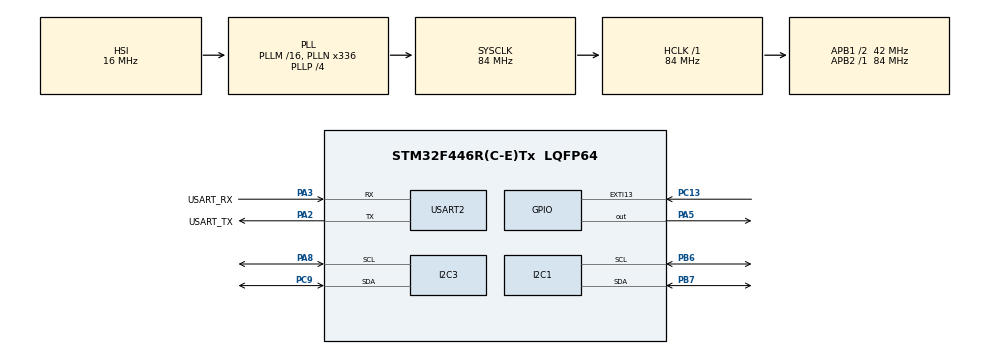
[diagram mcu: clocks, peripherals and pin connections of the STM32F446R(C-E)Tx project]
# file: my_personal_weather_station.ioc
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Mcu.Family=STM32F4
Mcu.Name=STM32F446R(C-E)Tx
Mcu.Package=LQFP64
NUCLEO-F446RE.BUTTON=1
NUCLEO-F446RE.LD1=true
NVIC.EXTI15_10_IRQn=true\:0\:0\:false\:false\:true\:false\:true\:true
NVIC.PriorityGroup=NVIC_PRIORITYGROUP_0
NVIC.TIM2_IRQn=true\:0\:0\:false\:false\:true\:true\:true\:true
PA13.GPIO_Label=TMS
PA13.Signal=SYS_JTMS-SWDIO
PA14.GPIO_Label=TCK
PA14.Signal=SYS_JTCK-SWCLK
PA2.GPIO_Label=USART_TX
PA2.Mode=Asynchronous
PA2.Signal=USART2_TX
PA3.GPIO_Label=USART_RX
PA3.Mode=Asynchronous
PA3.Signal=USART2_RX
PA5.Signal=GPIO_Output
PA8.Mode=I2C
PA8.Signal=I2C3_SCL
PB3.GPIO_Label=SWO
PB3.Signal=SYS_JTDO-SWO
PB6.Mode=I2C
PB6.Signal=I2C1_SCL
PB7.Mode=I2C
PB7.Signal=I2C1_SDA
PC13.Signal=GPXTI13
PC14-OSC32_IN.Signal=RCC_OSC32_IN
PC15-OSC32_OUT.Signal=RCC_OSC32_OUT
PC9.Mode=I2C
PC9.Signal=I2C3_SDA
PH0-OSC_IN.Signal=RCC_OSC_IN
PH1-OSC_OUT.Signal=RCC_OSC_OUT
ProjectManager.HeapSize=0x200
ProjectManager.StackSize=0x400
ProjectManager.TargetToolchain=STM32CubeIDE
RCC.AHBFreq_Value=84000000
RCC.APB1CLKDivider=RCC_HCLK_DIV2
RCC.APB1Freq_Value=42000000
RCC.APB1TimFreq_Value=84000000
RCC.APB2Freq_Value=84000000
RCC.APB2TimFreq_Value=84000000
RCC.CortexFreq_Value=84000000
RCC.FLatency-AdvancedSettings=FLASH_LATENCY_2
RCC.HCLKFreq_Value=84000000
RCC.HSE_VALUE=8000000
RCC.HSI_VALUE=16000000
RCC.LSE_VALUE=32768
RCC.PLLN=336
RCC.PLLP=RCC_PLLP_DIV4
RCC.SYSCLKFreq_VALUE=84000000
RCC.SYSCLKSource=RCC_SYSCLKSOURCE_PLLCLK
RCC.USBFreq_Value=168000000
RCC.VCOOutputFreq_Value=336000000
TIM2.Period=9999
TIM2.Prescaler=8399
USART2.VirtualMode=VM_ASYNC
VP_NUCLEO-F446RE_VS_BSP_COMMON.Mode=COMMON
VP_TIM2_VS_ClockSourceINT.Mode=Internal
board=NUCLEO-F446RE

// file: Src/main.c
/* USER CODE BEGIN Header */
/**
  ******************************************************************************
  * @file           : main.c
  * @brief          : Main program body
  ******************************************************************************
  * @attention
  *
  * Copyright (c) 2026 STMicroelectronics.
  * All rights reserved.
  *
  * This software is licensed under terms that can be found in the LICENSE file
  * in the root directory of this software component.
  * If no LICENSE file comes with this software, it is provided AS-IS.
  *
  ******************************************************************************
  */
/* USER CODE END Header */
#include "main.h"
#include "i2c.h"
#include "tim.h"
#include "usart.h"
#include "gpio.h"

/* USER CODE BEGIN Includes */
#include <stdbool.h>
#include "bme280_driver.h"
#include "sensor.h"
#include "timer_app.h"
#include "uart_app.h"
#include "lcd_driver.h"
#include <string.h>
#include "lcd_app.h"

/* USER CODE END Includes */

void SystemClock_Config(void);

int main(void)
{

  /* USER CODE BEGIN 1 */
	SensorData data = {0};
	HAL_StatusTypeDef sensor_status;

  /* USER CODE END 1 */

  /* MCU Configuration--------------------------------------------------------*/

  /* Reset of all peripherals, Initializes the Flash interface and the Systick. */
  HAL_Init();

  /* Configure the system clock */
  SystemClock_Config();

  /* Initialize all configured peripherals */
  MX_GPIO_Init();
  MX_USART2_UART_Init();
  MX_TIM2_Init();
  MX_I2C1_Init();
  MX_I2C3_Init();
  /* USER CODE BEGIN 2 */
  timer_app_start();
  BSP_LED_Init(LED2);
  sensor_init();
  lcd_init();

  /* USER CODE END 2 */

  /* Initialize leds */
  BSP_LED_Init(LED2);

  /* Initialize USER push-button, will be used to trigger an interrupt each time it's pressed.*/
  BSP_PB_Init(BUTTON_USER, BUTTON_MODE_EXTI);

  /* Infinite loop */
  /* USER CODE BEGIN WHILE */
  while (1)
  {
	  if(sensor_read_flag){
		  sensor_read_flag = false;

		  sensor_status = sensor_read(&data);
		  uart_app_send_sensor_data(sensor_status, &data);
		  lcd_app_show_sensor_data(sensor_status, &data);

	  }

    /* USER CODE END WHILE */

  }
}

void SystemClock_Config(void)
{
  RCC_OscInitTypeDef RCC_OscInitStruct = {0};
  RCC_ClkInitTypeDef RCC_ClkInitStruct = {0};

  /** Configure the main internal regulator output voltage
  */
  __HAL_RCC_PWR_CLK_ENABLE();
  __HAL_PWR_VOLTAGESCALING_CONFIG(PWR_REGULATOR_VOLTAGE_SCALE3);

  /** Initializes the RCC Oscillators according to the specified parameters
  * in the RCC_OscInitTypeDef structure.
  */
  RCC_OscInitStruct.OscillatorType = RCC_OSCILLATORTYPE_HSI;
  RCC_OscInitStruct.HSIState = RCC_HSI_ON;
  RCC_OscInitStruct.HSICalibrationValue = RCC_HSICALIBRATION_DEFAULT;
  RCC_OscInitStruct.PLL.PLLState = RCC_PLL_ON;
  RCC_OscInitStruct.PLL.PLLSource = RCC_PLLSOURCE_HSI;
  RCC_OscInitStruct.PLL.PLLM = 16;
  RCC_OscInitStruct.PLL.PLLN = 336;
  RCC_OscInitStruct.PLL.PLLP = RCC_PLLP_DIV4;
  RCC_OscInitStruct.PLL.PLLQ = 2;
  RCC_OscInitStruct.PLL.PLLR = 2;
  if (HAL_RCC_OscConfig(&RCC_OscInitStruct) != HAL_OK)
  {
    Error_Handler();
  }

  /** Initializes the CPU, AHB and APB buses clocks
  */
  RCC_ClkInitStruct.ClockType = RCC_CLOCKTYPE_HCLK|RCC_CLOCKTYPE_SYSCLK
                              |RCC_CLOCKTYPE_PCLK1|RCC_CLOCKTYPE_PCLK2;
  RCC_ClkInitStruct.SYSCLKSource = RCC_SYSCLKSOURCE_PLLCLK;
  RCC_ClkInitStruct.AHBCLKDivider = RCC_SYSCLK_DIV1;
  RCC_ClkInitStruct.APB1CLKDivider = RCC_HCLK_DIV2;
  RCC_ClkInitStruct.APB2CLKDivider = RCC_HCLK_DIV1;

  if (HAL_RCC_ClockConfig(&RCC_ClkInitStruct, FLASH_LATENCY_2) != HAL_OK)
  {
    Error_Handler();
  }
}

void Error_Handler(void)
{
  __disable_irq();
  while (1)
  {
  }
}
